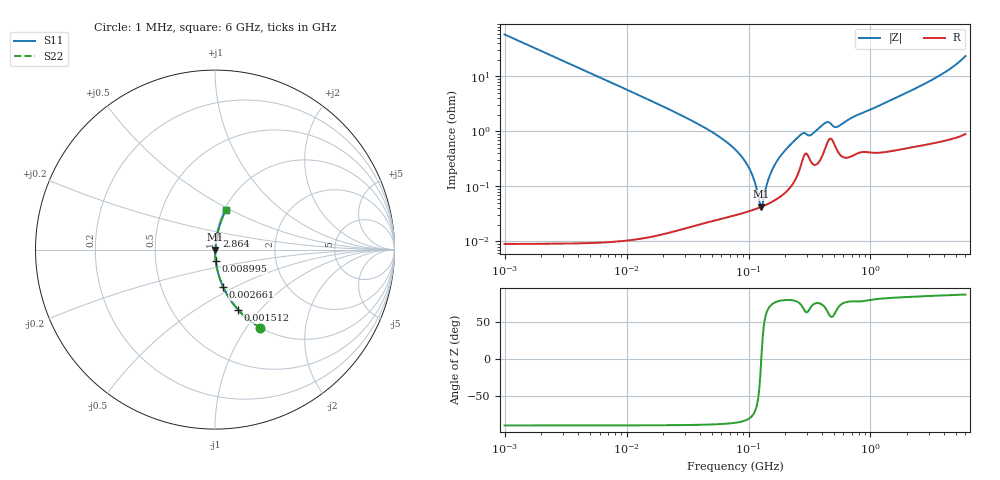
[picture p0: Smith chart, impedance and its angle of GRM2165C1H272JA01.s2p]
!Murata Part Number: GRM2165C1H272JA01
!These Parameters are Measured in Series Mode Connection
!Data Generated on Mar 30, 2021
!  o--ll--o
!Port1  Port2
!  o------o
!Operation Temp=25[degC], DC Bias Voltage=0[V]
!Freq. Start=1000[kHz] Stop=6[GHz] 401[Steps]
# Hz S RI R 50
!Freq.(Hz) S11(Real) S11(Imag) S21(Real) S21(Imag) S12(Real) S12(Imag) S22(Real) S22(Imag)
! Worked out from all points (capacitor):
!   401 points, 1 MHz to 6 GHz, reference 50 ohm
!   read as one part in series: C = 2.73 nF near 1.044 MHz
!   lowest |Z| = 42.6 mohm at 127.7 MHz (marker M1)
!   series resonance near 127.2 MHz, so ESL is about 570 pH
!   S11 on the Smith chart (normalised r, x): 1 MHz: 1.00, -1.16; 1.512 MHz: 1.00, -0.77; 2.661 MHz: 1.00, -0.44; 8.995 MHz: 1.00, -0.13; 2.864 GHz: 1.01, +0.15; 6 GHz: 1.02, +0.47
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1000000  0.2532 -0.4347  0.7468 0.4347  0.7468 0.4347  0.2532 -0.4347
1511688  0.1292 -0.3353  0.8708 0.3353  0.8708 0.3353  0.1292 -0.3353
2660982  0.0457 -0.2087  0.9543 0.2087  0.9543 0.2087  0.0457 -0.2087
4293785  0.0181 -0.133  0.9819 0.133  0.9819 0.133  0.0181 -0.133
8994628  0.00423 -0.0641  0.9958 0.0641  0.9958 0.0641  0.00423 -0.0641
1.843659e7  0.00108 -0.0308  0.9989 0.0308  0.9989 0.0308  0.00108 -0.0308
4.596069e7  0.000341 -0.011  0.9997 0.011  0.9997 0.011  0.000341 -0.011
7.745967e7  0.000319 -0.00471  0.9997 0.00471  0.9997 0.00471  0.000319 -0.00471
9.019724e7  0.000336 -0.0032  0.9997 0.0032  0.9997 0.0032  0.000336 -0.0032
1.027698e8  0.00036 -0.00197  0.9996 0.00197  0.9996 0.00197  0.00036 -0.00197
1.121107e8  0.000381 -0.00116  0.9996 0.00116  0.9996 0.00116  0.000381 -0.00116
1.223006e8  0.000408 -0.000361  0.9996 0.000361  0.9996 0.000361  0.000408 -0.000361
1.277378e8  0.000424 3.92e-05  0.9996 -3.92e-05  0.9996 -3.92e-05  0.000424 3.92e-05
1.520136e8  0.00051 0.00167  0.9995 -0.00167  0.9995 -0.00167  0.00051 0.00167
1.809028e8  0.000653 0.00339  0.9993 -0.00339  0.9993 -0.00339  0.000653 0.00339
2.675853e8  0.00239 0.00835  0.9976 -0.00835  0.9976 -0.00835  0.00239 0.00835
3.325952e8  0.00268 0.00849  0.9973 -0.00849  0.9973 -0.00849  0.00268 0.00849
4.31778e8  0.00553 0.0133  0.9945 -0.0133  0.9945 -0.0133  0.00553 0.0133
5.366786e8  0.00451 0.0113  0.9955 -0.0113  0.9955 -0.0113  0.00451 0.0113
1.428092e9  0.00556 0.0355  0.9944 -0.0355  0.9944 -0.0355  0.00556 0.0355
2.864233e9  0.0113 0.0748  0.9887 -0.0748  0.9887 -0.0748  0.0113 0.0748
6e9  0.0599 0.219  0.9401 -0.219  0.9401 -0.219  0.0599 0.219
